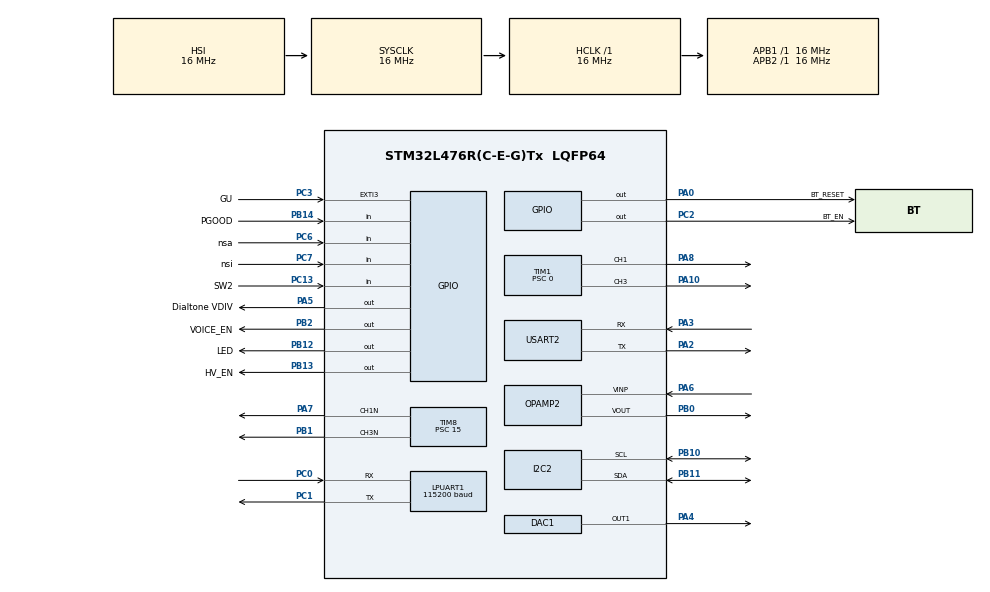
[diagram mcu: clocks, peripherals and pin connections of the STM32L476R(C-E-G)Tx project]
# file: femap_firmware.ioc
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DAC1.DAC_Trigger-DAC_OUT1=DAC_TRIGGER_T4_TRGO
Dma.DAC_CH1.2.Direction=DMA_MEMORY_TO_PERIPH
Dma.DAC_CH1.2.Instance=DMA1_Channel3
Dma.DAC_CH1.2.MemDataAlignment=DMA_MDATAALIGN_HALFWORD
Dma.DAC_CH1.2.MemInc=DMA_MINC_ENABLE
Dma.DAC_CH1.2.Mode=DMA_CIRCULAR
Dma.DAC_CH1.2.PeriphDataAlignment=DMA_PDATAALIGN_HALFWORD
Dma.DAC_CH1.2.PeriphInc=DMA_PINC_DISABLE
Dma.DAC_CH1.2.Priority=DMA_PRIORITY_HIGH
Dma.Request0=TIM1_CH1
Dma.Request1=TIM1_CH3
Dma.Request2=DAC_CH1
Dma.TIM1_CH1.0.Direction=DMA_MEMORY_TO_PERIPH
Dma.TIM1_CH1.0.Instance=DMA1_Channel2
Dma.TIM1_CH1.0.MemDataAlignment=DMA_MDATAALIGN_HALFWORD
Dma.TIM1_CH1.0.MemInc=DMA_MINC_ENABLE
Dma.TIM1_CH1.0.Mode=DMA_CIRCULAR
Dma.TIM1_CH1.0.PeriphDataAlignment=DMA_PDATAALIGN_HALFWORD
Dma.TIM1_CH1.0.PeriphInc=DMA_PINC_DISABLE
Dma.TIM1_CH1.0.Priority=DMA_PRIORITY_HIGH
Dma.TIM1_CH3.1.Direction=DMA_MEMORY_TO_PERIPH
Dma.TIM1_CH3.1.Instance=DMA1_Channel7
Dma.TIM1_CH3.1.MemDataAlignment=DMA_MDATAALIGN_HALFWORD
Dma.TIM1_CH3.1.MemInc=DMA_MINC_ENABLE
Dma.TIM1_CH3.1.Mode=DMA_CIRCULAR
Dma.TIM1_CH3.1.PeriphDataAlignment=DMA_PDATAALIGN_HALFWORD
Dma.TIM1_CH3.1.PeriphInc=DMA_PINC_DISABLE
Dma.TIM1_CH3.1.Priority=DMA_PRIORITY_HIGH
I2C2.Timing=0x00503D58
LPUART1.BaudRate=115200
LPUART1.WordLength=UART_WORDLENGTH_8B
Mcu.Family=STM32L4
Mcu.Name=STM32L476R(C-E-G)Tx
Mcu.Package=LQFP64
NVIC.DMA1_Channel2_IRQn=true\:0\:0\:false\:false\:true\:false\:true\:true
NVIC.DMA1_Channel3_IRQn=true\:0\:0\:false\:false\:true\:false\:true\:true
NVIC.DMA1_Channel7_IRQn=true\:0\:0\:false\:false\:true\:false\:true\:true
NVIC.EXTI3_IRQn=true\:0\:0\:false\:false\:true\:true\:true\:true
NVIC.LPUART1_IRQn=true\:0\:0\:false\:false\:true\:true\:true\:true
NVIC.PriorityGroup=NVIC_PRIORITYGROUP_4
NVIC.USART2_IRQn=true\:0\:0\:false\:false\:true\:true\:true\:true
PA0.GPIO_Label=BT_RESET
PA0.Signal=GPIO_Output
PA10.Signal=S_TIM1_CH3
PA2.Mode=Asynchronous
PA2.Signal=USART2_TX
PA3.Mode=Asynchronous
PA3.Signal=USART2_RX
PA4.Signal=COMP_DAC11_group
PA5.GPIO_Label=Dialtone VDIV 
PA5.Signal=GPIO_Output
PA6.Mode=Follower
PA6.Signal=OPAMP2_VINP
PA7.Mode=PWM Generation1 CH1N
PA7.Signal=TIM8_CH1N
PA8.Signal=S_TIM1_CH1
PB0.Mode=Follower
PB0.Signal=OPAMP2_VOUT
PB1.Mode=PWM Generation3 CH3N
PB1.Signal=TIM8_CH3N
PB10.Mode=I2C
PB10.Signal=I2C2_SCL
PB11.Mode=I2C
PB11.Signal=I2C2_SDA
PB12.GPIO_Label=LED
PB12.Signal=GPIO_Output
PB13.GPIO_Label=HV_EN
PB13.Signal=GPIO_Output
PB14.GPIO_Label=PGOOD
PB14.Signal=GPIO_Input
PB2.GPIO_Label=VOICE_EN
PB2.Signal=GPIO_Output
PC0.Mode=Asynchronous
PC0.Signal=LPUART1_RX
PC1.Mode=Asynchronous
PC1.Signal=LPUART1_TX
PC13.GPIO_Label=SW2
PC13.Signal=GPIO_Input
PC14-OSC32_IN\ (PC14).Mode=LSE-External-Oscillator
PC14-OSC32_IN\ (PC14).Signal=RCC_OSC32_IN
PC15-OSC32_OUT\ (PC15).Mode=LSE-External-Oscillator
PC15-OSC32_OUT\ (PC15).Signal=RCC_OSC32_OUT
PC2.GPIO_Label=BT_EN
PC2.Signal=GPIO_Output
PC3.GPIO_Label=GU
PC3.GPIO_PuPd=GPIO_PULLDOWN
PC3.Signal=GPXTI3
PC6.GPIO_Label=nsa
PC6.GPIO_PuPd=GPIO_PULLDOWN
PC6.Signal=GPIO_Input
PC7.GPIO_Label=nsi
PC7.GPIO_PuPd=GPIO_PULLDOWN
PC7.Signal=GPIO_Input
ProjectManager.HeapSize=0x200
ProjectManager.StackSize=0x400
ProjectManager.TargetToolchain=CMake
RCC.ADCFreq_Value=64000000
RCC.AHBFreq_Value=16000000
RCC.APB1Freq_Value=16000000
RCC.APB1TimFreq_Value=16000000
RCC.APB2Freq_Value=16000000
RCC.APB2TimFreq_Value=16000000
RCC.CortexFreq_Value=16000000
RCC.HCLKFreq_Value=16000000
RCC.HSE_VALUE=8000000
RCC.HSI_VALUE=16000000
RCC.LPUART1CLockSelection=RCC_LPUART1CLKSOURCE_HSI
RCC.MSIClockRange=RCC_MSIRANGE_8
RCC.MSI_VALUE=16000000
RCC.PLLSourceVirtual=RCC_PLLSOURCE_HSI
RCC.SYSCLKFreq_VALUE=16000000
RCC.SYSCLKSource=RCC_SYSCLKSOURCE_HSI
RCC.USBFreq_Value=64000000
RCC.VCOOutputFreq_Value=128000000
SH.COMP_DAC11_group.0=DAC1_OUT1,DAC_OUT1
SH.S_TIM1_CH1.0=TIM1_CH1,PWM Generation1 CH1
SH.S_TIM1_CH3.0=TIM1_CH3,PWM Generation3 CH3
TIM1.AutoReloadPreload=TIM_AUTORELOAD_PRELOAD_ENABLE
TIM1.Channel-PWM\ Generation1\ CH1=TIM_CHANNEL_1
TIM1.Channel-PWM\ Generation3\ CH3=TIM_CHANNEL_3
TIM1.Period=319
TIM1.Prescaler=0
TIM1.Pulse-PWM\ Generation1\ CH1=0
TIM1.Pulse-PWM\ Generation3\ CH3=0
TIM1.TIM_MasterOutputTrigger=TIM_TRGO_ENABLE
TIM1.TIM_MasterSlaveMode=TIM_MASTERSLAVEMODE_DISABLE
TIM15.Channel-PWM\ Generation1\ No\ Output=TIM_CHANNEL_1
TIM15.Prescaler=15999
TIM2.Channel-PWM\ Generation1\ No\ Output=TIM_CHANNEL_1
TIM2.Period=6000
TIM2.Prescaler=15999
TIM2.Pulse-PWM\ Generation1\ No\ Output=1000
TIM2.TIM_MasterOutputTrigger=TIM_TRGO_OC1REF
TIM3.Channel-PWM\ Generation1\ No\ Output=TIM_CHANNEL_1
TIM3.Period=480
TIM3.Prescaler=15999
TIM3.Pulse-PWM\ Generation1\ No\ Output=239
TIM3.TIM_MasterOutputTrigger=TIM_TRGO_OC1REF
TIM4.Channel-PWM\ Generation1\ No\ Output=TIM_CHANNEL_1
TIM4.Period=39
TIM4.TIM_MasterOutputTrigger=TIM_TRGO_UPDATE
TIM8.AutoReloadPreload=TIM_AUTORELOAD_PRELOAD_ENABLE
TIM8.Channel-PWM\ Generation1\ CH1N=TIM_CHANNEL_1
TIM8.Channel-PWM\ Generation2\ No\ Output=TIM_CHANNEL_2
TIM8.Channel-PWM\ Generation3\ CH3N=TIM_CHANNEL_3
TIM8.Channel-PWM\ Generation4\ No\ Output=TIM_CHANNEL_4
TIM8.OCMode_PWM-PWM\ Generation1\ CH1N=TIM_OCMODE_COMBINED_PWM2
TIM8.OCMode_PWM-PWM\ Generation3\ CH3N=TIM_OCMODE_COMBINED_PWM2
TIM8.OCNPolarity_1=TIM_OCNPOLARITY_LOW
TIM8.OCNPolarity_3=TIM_OCNPOLARITY_LOW
TIM8.OCPolarity_2=TIM_OCPOLARITY_HIGH
TIM8.Period=39999
TIM8.Prescaler=15
TIM8.Pulse-PWM\ Generation1\ CH1N=20010
TIM8.Pulse-PWM\ Generation2\ No\ Output=39990
TIM8.Pulse-PWM\ Generation3\ CH3N=10
TIM8.Pulse-PWM\ Generation4\ No\ Output=19990
USART2.VirtualMode-Asynchronous=VM_ASYNC
VP_TIM15_VS_no_output1.Mode=PWM Generation1 No Output
VP_TIM1_VS_ClockSourceINT.Mode=Internal
VP_TIM1_VS_ClockSourceITR.Mode=TriggerSource_ITR1
VP_TIM1_VS_ControllerModeGated.Mode=Gated Mode
VP_TIM2_VS_ClockSourceINT.Mode=Internal
VP_TIM2_VS_no_output1.Mode=PWM Generation1 No Output
VP_TIM3_VS_ClockSourceINT.Mode=Internal
VP_TIM3_VS_no_output1.Mode=PWM Generation1 No Output
VP_TIM4_VS_ClockSourceITR.Mode=TriggerSource_ITR2
VP_TIM4_VS_ControllerModeGated.Mode=Gated Mode
VP_TIM4_VS_no_output1.Mode=PWM Generation1 No Output
VP_TIM8_VS_ClockSourceINT.Mode=Internal
VP_TIM8_VS_ClockSourceITR.Mode=TriggerSource_ITR1
VP_TIM8_VS_ControllerModeGated.Mode=Gated Mode
VP_TIM8_VS_no_output2.Mode=PWM Generation2 No Output
VP_TIM8_VS_no_output4.Mode=PWM Generation4 No Output
board=custom

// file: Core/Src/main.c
/* USER CODE BEGIN Header */
/**
  ******************************************************************************
  * @file           : main.c
  * @brief          : Main program body
  ******************************************************************************
  * @attention
  *
  * Copyright (c) 2025 STMicroelectronics.
  * All rights reserved.
  *
  * This software is licensed under terms that can be found in the LICENSE file
  * in the root directory of this software component.
  * If no LICENSE file comes with this software, it is provided AS-IS.
  *
  ******************************************************************************
  */
/* USER CODE END Header */
#include "main.h"

/* USER CODE BEGIN Includes */
#include <string.h>
#include <stdio.h>

#include "stm32l4xx_ll_tim.h"
#include "stm32l4xx_hal_tim.h"

#include "ringer.h"
#include "tone.h"
#include "easteregg.h"
#include "rotary.h"
#include "uart_debug.h"
#include "bt_hfp.h"
#include "phone_fsm.h"
/* USER CODE END Includes */

DAC_HandleTypeDef hdac1;
DMA_HandleTypeDef hdma_dac_ch1;

I2C_HandleTypeDef hi2c2;

UART_HandleTypeDef hlpuart1;
UART_HandleTypeDef huart2;

OPAMP_HandleTypeDef hopamp2;

TIM_HandleTypeDef htim1;
TIM_HandleTypeDef htim2;
TIM_HandleTypeDef htim3;
TIM_HandleTypeDef htim4;
TIM_HandleTypeDef htim8;
TIM_HandleTypeDef htim15;
DMA_HandleTypeDef hdma_tim1_ch1;
DMA_HandleTypeDef hdma_tim1_ch3;

/* USER CODE BEGIN PV */

#define MP2722_REGISTERS 23
uint8_t i2c_buffer[MP2722_REGISTERS];

/* USER CODE END PV */

void SystemClock_Config(void);
static void MX_GPIO_Init(void);
static void MX_DMA_Init(void);
static void MX_TIM1_Init(void);
static void MX_USART2_UART_Init(void);
static void MX_TIM8_Init(void);
static void MX_TIM2_Init(void);
static void MX_LPUART1_UART_Init(void);
static void MX_DAC1_Init(void);
static void MX_OPAMP2_Init(void);
static void MX_TIM4_Init(void);
static void MX_TIM15_Init(void);
static void MX_TIM3_Init(void);
static void MX_I2C2_Init(void);

int main(void)
{

  /* MCU Configuration--------------------------------------------------------*/

  /* Reset of all peripherals, Initializes the Flash interface and the Systick. */
  HAL_Init();

  /* Configure the system clock */
  SystemClock_Config();

  /* USER CODE BEGIN SysInit */
  HAL_Delay(500);
  /* USER CODE END SysInit */

  /* Initialize all configured peripherals */
  MX_GPIO_Init();
  MX_DMA_Init();
  MX_TIM1_Init();
  MX_USART2_UART_Init();
  MX_TIM8_Init();
  MX_TIM2_Init();
  MX_LPUART1_UART_Init();
  MX_DAC1_Init();
  MX_OPAMP2_Init();
  MX_TIM4_Init();
  MX_TIM15_Init();
  MX_TIM3_Init();
  MX_I2C2_Init();
  /* USER CODE BEGIN 2 */
  uart_debug_init(&huart2, &hlpuart1);

  // TODO: print version number instead of 'hello world'
  puts("Hallo Welt");

  /*
   * TIM1: PWM samples for NMOS (lower part of H bridge)
   * TIM8: on/off for PMOS (upper part of H bridge)
   * TIM2: defines duty cycle
   */
  init_bell(&htim2, &htim8, &htim1);
  /*
   * TIM3: defines duty cycle (regular dialtone vs. busy tone)
   * TIM4: for DAC samples
   */
  init_dialtone(&htim3, &htim4, &hdac1, &hopamp2);
  init_easteregg(&htim4, &hdac1, &hopamp2);
  /* TIM15: pulse timing for rotary dial */
  init_rotary(&htim15);

  HAL_GPIO_WritePin(VOICE_EN_GPIO_Port, VOICE_EN_Pin, GPIO_PIN_RESET);
  bt_hfp_init(&hlpuart1, &huart2);
  phone_fsm_init(&hlpuart1);

  HAL_I2C_Master_Transmit(&hi2c2, 0x03f<<1, (uint8_t*)"\x00", 1, 1000);
  HAL_I2C_Master_Receive(&hi2c2, 0x3f<<1, i2c_buffer, MP2722_REGISTERS, 1000);
  iprintf("i2c=");
  for(size_t i=0; i<MP2722_REGISTERS; ++i)
  {
    iprintf("%02x", i2c_buffer[i]);
  }
  iprintf("\n");
  /* USER CODE END 2 */

  /* Infinite loop */
  /* USER CODE BEGIN WHILE */
  while(1)
  {
    phone_fsm_process();
  }
    /* USER CODE END WHILE */

}

void SystemClock_Config(void)
{
  RCC_OscInitTypeDef RCC_OscInitStruct = {0};
  RCC_ClkInitTypeDef RCC_ClkInitStruct = {0};

  /** Configure the main internal regulator output voltage
  */
  if (HAL_PWREx_ControlVoltageScaling(PWR_REGULATOR_VOLTAGE_SCALE1) != HAL_OK)
  {
    Error_Handler();
  }

  /** Initializes the RCC Oscillators according to the specified parameters
  * in the RCC_OscInitTypeDef structure.
  */
  RCC_OscInitStruct.OscillatorType = RCC_OSCILLATORTYPE_HSI;
  RCC_OscInitStruct.HSIState = RCC_HSI_ON;
  RCC_OscInitStruct.HSICalibrationValue = RCC_HSICALIBRATION_DEFAULT;
  RCC_OscInitStruct.PLL.PLLState = RCC_PLL_NONE;
  if (HAL_RCC_OscConfig(&RCC_OscInitStruct) != HAL_OK)
  {
    Error_Handler();
  }

  /** Initializes the CPU, AHB and APB buses clocks
  */
  RCC_ClkInitStruct.ClockType = RCC_CLOCKTYPE_HCLK|RCC_CLOCKTYPE_SYSCLK
                              |RCC_CLOCKTYPE_PCLK1|RCC_CLOCKTYPE_PCLK2;
  RCC_ClkInitStruct.SYSCLKSource = RCC_SYSCLKSOURCE_HSI;
  RCC_ClkInitStruct.AHBCLKDivider = RCC_SYSCLK_DIV1;
  RCC_ClkInitStruct.APB1CLKDivider = RCC_HCLK_DIV1;
  RCC_ClkInitStruct.APB2CLKDivider = RCC_HCLK_DIV1;

  if (HAL_RCC_ClockConfig(&RCC_ClkInitStruct, FLASH_LATENCY_0) != HAL_OK)
  {
    Error_Handler();
  }
}

static void MX_DAC1_Init(void)
{

  DAC_ChannelConfTypeDef sConfig = {0};

  /** DAC Initialization
  */
  hdac1.Instance = DAC1;
  if (HAL_DAC_Init(&hdac1) != HAL_OK)
  {
    Error_Handler();
  }

  /** DAC channel OUT1 config
  */
  sConfig.DAC_SampleAndHold = DAC_SAMPLEANDHOLD_DISABLE;
  sConfig.DAC_Trigger = DAC_TRIGGER_T4_TRGO;
  sConfig.DAC_OutputBuffer = DAC_OUTPUTBUFFER_ENABLE;
  sConfig.DAC_ConnectOnChipPeripheral = DAC_CHIPCONNECT_DISABLE;
  sConfig.DAC_UserTrimming = DAC_TRIMMING_FACTORY;
  if (HAL_DAC_ConfigChannel(&hdac1, &sConfig, DAC_CHANNEL_1) != HAL_OK)
  {
    Error_Handler();
  }

}

static void MX_I2C2_Init(void)
{

  hi2c2.Instance = I2C2;
  hi2c2.Init.Timing = 0x00503D58;
  hi2c2.Init.OwnAddress1 = 0;
  hi2c2.Init.AddressingMode = I2C_ADDRESSINGMODE_7BIT;
  hi2c2.Init.DualAddressMode = I2C_DUALADDRESS_DISABLE;
  hi2c2.Init.OwnAddress2 = 0;
  hi2c2.Init.OwnAddress2Masks = I2C_OA2_NOMASK;
  hi2c2.Init.GeneralCallMode = I2C_GENERALCALL_DISABLE;
  hi2c2.Init.NoStretchMode = I2C_NOSTRETCH_DISABLE;
  if (HAL_I2C_Init(&hi2c2) != HAL_OK)
  {
    Error_Handler();
  }

  /** Configure Analogue filter
  */
  if (HAL_I2CEx_ConfigAnalogFilter(&hi2c2, I2C_ANALOGFILTER_ENABLE) != HAL_OK)
  {
    Error_Handler();
  }

  /** Configure Digital filter
  */
  if (HAL_I2CEx_ConfigDigitalFilter(&hi2c2, 0) != HAL_OK)
  {
    Error_Handler();
  }

}

static void MX_LPUART1_UART_Init(void)
{

  hlpuart1.Instance = LPUART1;
  hlpuart1.Init.BaudRate = 115200;
  hlpuart1.Init.WordLength = UART_WORDLENGTH_8B;
  hlpuart1.Init.StopBits = UART_STOPBITS_1;
  hlpuart1.Init.Parity = UART_PARITY_NONE;
  hlpuart1.Init.Mode = UART_MODE_TX_RX;
  hlpuart1.Init.HwFlowCtl = UART_HWCONTROL_NONE;
  hlpuart1.Init.OneBitSampling = UART_ONE_BIT_SAMPLE_DISABLE;
  hlpuart1.AdvancedInit.AdvFeatureInit = UART_ADVFEATURE_NO_INIT;
  if (HAL_UART_Init(&hlpuart1) != HAL_OK)
  {
    Error_Handler();
  }

}

static void MX_USART2_UART_Init(void)
{

  huart2.Instance = USART2;
  huart2.Init.BaudRate = 115200;
  huart2.Init.WordLength = UART_WORDLENGTH_8B;
  huart2.Init.StopBits = UART_STOPBITS_1;
  huart2.Init.Parity = UART_PARITY_NONE;
  huart2.Init.Mode = UART_MODE_TX_RX;
  huart2.Init.HwFlowCtl = UART_HWCONTROL_NONE;
  huart2.Init.OverSampling = UART_OVERSAMPLING_16;
  huart2.Init.OneBitSampling = UART_ONE_BIT_SAMPLE_DISABLE;
  huart2.AdvancedInit.AdvFeatureInit = UART_ADVFEATURE_NO_INIT;
  if (HAL_UART_Init(&huart2) != HAL_OK)
  {
    Error_Handler();
  }

}

static void MX_OPAMP2_Init(void)
{

  hopamp2.Instance = OPAMP2;
  hopamp2.Init.PowerSupplyRange = OPAMP_POWERSUPPLY_LOW;
  hopamp2.Init.Mode = OPAMP_FOLLOWER_MODE;
  hopamp2.Init.NonInvertingInput = OPAMP_NONINVERTINGINPUT_IO0;
  hopamp2.Init.PowerMode = OPAMP_POWERMODE_NORMALPOWER;
  hopamp2.Init.UserTrimming = OPAMP_TRIMMING_FACTORY;
  if (HAL_OPAMP_Init(&hopamp2) != HAL_OK)
  {
    Error_Handler();
  }

}

static void MX_TIM1_Init(void)
{

  TIM_ClockConfigTypeDef sClockSourceConfig = {0};
  TIM_SlaveConfigTypeDef sSlaveConfig = {0};
  TIM_MasterConfigTypeDef sMasterConfig = {0};
  TIM_OC_InitTypeDef sConfigOC = {0};
  TIM_BreakDeadTimeConfigTypeDef sBreakDeadTimeConfig = {0};

  htim1.Instance = TIM1;
  htim1.Init.Prescaler = 0;
  htim1.Init.CounterMode = TIM_COUNTERMODE_UP;
  htim1.Init.Period = 319;
  htim1.Init.ClockDivision = TIM_CLOCKDIVISION_DIV1;
  htim1.Init.RepetitionCounter = 0;
  htim1.Init.AutoReloadPreload = TIM_AUTORELOAD_PRELOAD_ENABLE;
  if (HAL_TIM_Base_Init(&htim1) != HAL_OK)
  {
    Error_Handler();
  }
  sClockSourceConfig.ClockSource = TIM_CLOCKSOURCE_INTERNAL;
  if (HAL_TIM_ConfigClockSource(&htim1, &sClockSourceConfig) != HAL_OK)
  {
    Error_Handler();
  }
  if (HAL_TIM_PWM_Init(&htim1) != HAL_OK)
  {
    Error_Handler();
  }
  sSlaveConfig.SlaveMode = TIM_SLAVEMODE_GATED;
  sSlaveConfig.InputTrigger = TIM_TS_ITR1;
  if (HAL_TIM_SlaveConfigSynchro(&htim1, &sSlaveConfig) != HAL_OK)
  {
    Error_Handler();
  }
  sMasterConfig.MasterOutputTrigger = TIM_TRGO_ENABLE;
  sMasterConfig.MasterOutputTrigger2 = TIM_TRGO2_RESET;
  sMasterConfig.MasterSlaveMode = TIM_MASTERSLAVEMODE_DISABLE;
  if (HAL_TIMEx_MasterConfigSynchronization(&htim1, &sMasterConfig) != HAL_OK)
  {
    Error_Handler();
  }
  sConfigOC.OCMode = TIM_OCMODE_PWM1;
  sConfigOC.Pulse = 0;
  sConfigOC.OCPolarity = TIM_OCPOLARITY_HIGH;
  sConfigOC.OCNPolarity = TIM_OCNPOLARITY_HIGH;
  sConfigOC.OCFastMode = TIM_OCFAST_DISABLE;
  sConfigOC.OCIdleState = TIM_OCIDLESTATE_RESET;
  sConfigOC.OCNIdleState = TIM_OCNIDLESTATE_RESET;
  if (HAL_TIM_PWM_ConfigChannel(&htim1, &sConfigOC, TIM_CHANNEL_1) != HAL_OK)
  {
    Error_Handler();
  }
  if (HAL_TIM_PWM_ConfigChannel(&htim1, &sConfigOC, TIM_CHANNEL_3) != HAL_OK)
  {
    Error_Handler();
  }
  sBreakDeadTimeConfig.OffStateRunMode = TIM_OSSR_DISABLE;
  sBreakDeadTimeConfig.OffStateIDLEMode = TIM_OSSI_DISABLE;
  sBreakDeadTimeConfig.LockLevel = TIM_LOCKLEVEL_OFF;
  sBreakDeadTimeConfig.DeadTime = 0;
  sBreakDeadTimeConfig.BreakState = TIM_BREAK_DISABLE;
  sBreakDeadTimeConfig.BreakPolarity = TIM_BREAKPOLARITY_HIGH;
  sBreakDeadTimeConfig.BreakFilter = 0;
  sBreakDeadTimeConfig.Break2State = TIM_BREAK2_DISABLE;
  sBreakDeadTimeConfig.Break2Polarity = TIM_BREAK2POLARITY_HIGH;
  sBreakDeadTimeConfig.Break2Filter = 0;
  sBreakDeadTimeConfig.AutomaticOutput = TIM_AUTOMATICOUTPUT_DISABLE;
  if (HAL_TIMEx_ConfigBreakDeadTime(&htim1, &sBreakDeadTimeConfig) != HAL_OK)
  {
    Error_Handler();
  }
  HAL_TIM_MspPostInit(&htim1);

}

static void MX_TIM2_Init(void)
{

  TIM_ClockConfigTypeDef sClockSourceConfig = {0};
  TIM_MasterConfigTypeDef sMasterConfig = {0};
  TIM_OC_InitTypeDef sConfigOC = {0};

  htim2.Instance = TIM2;
  htim2.Init.Prescaler = 15999;
  htim2.Init.CounterMode = TIM_COUNTERMODE_UP;
  htim2.Init.Period = 6000;
  htim2.Init.ClockDivision = TIM_CLOCKDIVISION_DIV1;
  htim2.Init.AutoReloadPreload = TIM_AUTORELOAD_PRELOAD_DISABLE;
  if (HAL_TIM_Base_Init(&htim2) != HAL_OK)
  {
    Error_Handler();
  }
  sClockSourceConfig.ClockSource = TIM_CLOCKSOURCE_INTERNAL;
  if (HAL_TIM_ConfigClockSource(&htim2, &sClockSourceConfig) != HAL_OK)
  {
    Error_Handler();
  }
  if (HAL_TIM_PWM_Init(&htim2) != HAL_OK)
  {
    Error_Handler();
  }
  sMasterConfig.MasterOutputTrigger = TIM_TRGO_OC1REF;
  sMasterConfig.MasterSlaveMode = TIM_MASTERSLAVEMODE_DISABLE;
  if (HAL_TIMEx_MasterConfigSynchronization(&htim2, &sMasterConfig) != HAL_OK)
  {
    Error_Handler();
  }
  sConfigOC.OCMode = TIM_OCMODE_PWM1;
  sConfigOC.Pulse = 1000;
  sConfigOC.OCPolarity = TIM_OCPOLARITY_HIGH;
  sConfigOC.OCFastMode = TIM_OCFAST_DISABLE;
  if (HAL_TIM_PWM_ConfigChannel(&htim2, &sConfigOC, TIM_CHANNEL_1) != HAL_OK)
  {
    Error_Handler();
  }

}

static void MX_TIM3_Init(void)
{

  TIM_ClockConfigTypeDef sClockSourceConfig = {0};
  TIM_MasterConfigTypeDef sMasterConfig = {0};
  TIM_OC_InitTypeDef sConfigOC = {0};

  htim3.Instance = TIM3;
  htim3.Init.Prescaler = 15999;
  htim3.Init.CounterMode = TIM_COUNTERMODE_UP;
  htim3.Init.Period = 480;
  htim3.Init.ClockDivision = TIM_CLOCKDIVISION_DIV1;
  htim3.Init.AutoReloadPreload = TIM_AUTORELOAD_PRELOAD_DISABLE;
  if (HAL_TIM_Base_Init(&htim3) != HAL_OK)
  {
    Error_Handler();
  }
  sClockSourceConfig.ClockSource = TIM_CLOCKSOURCE_INTERNAL;
  if (HAL_TIM_ConfigClockSource(&htim3, &sClockSourceConfig) != HAL_OK)
  {
    Error_Handler();
  }
  if (HAL_TIM_PWM_Init(&htim3) != HAL_OK)
  {
    Error_Handler();
  }
  sMasterConfig.MasterOutputTrigger = TIM_TRGO_OC1REF;
  sMasterConfig.MasterSlaveMode = TIM_MASTERSLAVEMODE_DISABLE;
  if (HAL_TIMEx_MasterConfigSynchronization(&htim3, &sMasterConfig) != HAL_OK)
  {
    Error_Handler();
  }
  sConfigOC.OCMode = TIM_OCMODE_PWM1;
  sConfigOC.Pulse = 239;
  sConfigOC.OCPolarity = TIM_OCPOLARITY_HIGH;
  sConfigOC.OCFastMode = TIM_OCFAST_DISABLE;
  if (HAL_TIM_PWM_ConfigChannel(&htim3, &sConfigOC, TIM_CHANNEL_1) != HAL_OK)
  {
    Error_Handler();
  }

}

static void MX_TIM4_Init(void)
{

  TIM_SlaveConfigTypeDef sSlaveConfig = {0};
  TIM_MasterConfigTypeDef sMasterConfig = {0};
  TIM_OC_InitTypeDef sConfigOC = {0};

  htim4.Instance = TIM4;
  htim4.Init.Prescaler = 0;
  htim4.Init.CounterMode = TIM_COUNTERMODE_UP;
  htim4.Init.Period = 39;
  htim4.Init.ClockDivision = TIM_CLOCKDIVISION_DIV1;
  htim4.Init.AutoReloadPreload = TIM_AUTORELOAD_PRELOAD_DISABLE;
  if (HAL_TIM_Base_Init(&htim4) != HAL_OK)
  {
    Error_Handler();
  }
  if (HAL_TIM_PWM_Init(&htim4) != HAL_OK)
  {
    Error_Handler();
  }
  sSlaveConfig.SlaveMode = TIM_SLAVEMODE_GATED;
  sSlaveConfig.InputTrigger = TIM_TS_ITR2;
  if (HAL_TIM_SlaveConfigSynchro(&htim4, &sSlaveConfig) != HAL_OK)
  {
    Error_Handler();
  }
  sMasterConfig.MasterOutputTrigger = TIM_TRGO_UPDATE;
  sMasterConfig.MasterSlaveMode = TIM_MASTERSLAVEMODE_DISABLE;
  if (HAL_TIMEx_MasterConfigSynchronization(&htim4, &sMasterConfig) != HAL_OK)
  {
    Error_Handler();
  }
  sConfigOC.OCMode = TIM_OCMODE_PWM1;
  sConfigOC.Pulse = 0;
  sConfigOC.OCPolarity = TIM_OCPOLARITY_HIGH;
  sConfigOC.OCFastMode = TIM_OCFAST_DISABLE;
  if (HAL_TIM_PWM_ConfigChannel(&htim4, &sConfigOC, TIM_CHANNEL_1) != HAL_OK)
  {
    Error_Handler();
  }

}

static void MX_TIM8_Init(void)
{

  TIM_ClockConfigTypeDef sClockSourceConfig = {0};
  TIM_SlaveConfigTypeDef sSlaveConfig = {0};
  TIM_MasterConfigTypeDef sMasterConfig = {0};
  TIM_OC_InitTypeDef sConfigOC = {0};
  TIM_BreakDeadTimeConfigTypeDef sBreakDeadTimeConfig = {0};

  htim8.Instance = TIM8;
  htim8.Init.Prescaler = 15;
  htim8.Init.CounterMode = TIM_COUNTERMODE_UP;
  htim8.Init.Period = 39999;
  htim8.Init.ClockDivision = TIM_CLOCKDIVISION_DIV1;
  htim8.Init.RepetitionCounter = 0;
  htim8.Init.AutoReloadPreload = TIM_AUTORELOAD_PRELOAD_ENABLE;
  if (HAL_TIM_Base_Init(&htim8) != HAL_OK)
  {
    Error_Handler();
  }
  sClockSourceConfig.ClockSource = TIM_CLOCKSOURCE_INTERNAL;
  if (HAL_TIM_ConfigClockSource(&htim8, &sClockSourceConfig) != HAL_OK)
  {
    Error_Handler();
  }
  if (HAL_TIM_PWM_Init(&htim8) != HAL_OK)
  {
    Error_Handler();
  }
  sSlaveConfig.SlaveMode = TIM_SLAVEMODE_GATED;
  sSlaveConfig.InputTrigger = TIM_TS_ITR1;
  if (HAL_TIM_SlaveConfigSynchro(&htim8, &sSlaveConfig) != HAL_OK)
  {
    Error_Handler();
  }
  sMasterConfig.MasterOutputTrigger = TIM_TRGO_RESET;
  sMasterConfig.MasterOutputTrigger2 = TIM_TRGO2_RESET;
  sMasterConfig.MasterSlaveMode = TIM_MASTERSLAVEMODE_DISABLE;
  if (HAL_TIMEx_MasterConfigSynchronization(&htim8, &sMasterConfig) != HAL_OK)
  {
    Error_Handler();
  }
  sConfigOC.OCMode = TIM_OCMODE_COMBINED_PWM2;
  sConfigOC.Pulse = 20010;
  sConfigOC.OCPolarity = TIM_OCPOLARITY_HIGH;
  sConfigOC.OCNPolarity = TIM_OCNPOLARITY_LOW;
  sConfigOC.OCFastMode = TIM_OCFAST_DISABLE;
  sConfigOC.OCIdleState = TIM_OCIDLESTATE_RESET;
  sConfigOC.OCNIdleState = TIM_OCNIDLESTATE_RESET;
  if (HAL_TIM_PWM_ConfigChannel(&htim8, &sConfigOC, TIM_CHANNEL_1) != HAL_OK)
  {
    Error_Handler();
  }
  sConfigOC.OCMode = TIM_OCMODE_PWM1;
  sConfigOC.Pulse = 39990;
  sConfigOC.OCNPolarity = TIM_OCNPOLARITY_HIGH;
  if (HAL_TIM_PWM_ConfigChannel(&htim8, &sConfigOC, TIM_CHANNEL_2) != HAL_OK)
  {
    Error_Handler();
  }
  sConfigOC.OCMode = TIM_OCMODE_COMBINED_PWM2;
  sConfigOC.Pulse = 10;
  sConfigOC.OCNPolarity = TIM_OCNPOLARITY_LOW;
  if (HAL_TIM_PWM_ConfigChannel(&htim8, &sConfigOC, TIM_CHANNEL_3) != HAL_OK)
  {
    Error_Handler();
  }
  sConfigOC.OCMode = TIM_OCMODE_PWM1;
  sConfigOC.Pulse = 19990;
  if (HAL_TIM_PWM_ConfigChannel(&htim8, &sConfigOC, TIM_CHANNEL_4) != HAL_OK)
  {
    Error_Handler();
  }
  sBreakDeadTimeConfig.OffStateRunMode = TIM_OSSR_DISABLE;
  sBreakDeadTimeConfig.OffStateIDLEMode = TIM_OSSI_DISABLE;
  sBreakDeadTimeConfig.LockLevel = TIM_LOCKLEVEL_OFF;
  sBreakDeadTimeConfig.DeadTime = 0;
  sBreakDeadTimeConfig.BreakState = TIM_BREAK_DISABLE;
  sBreakDeadTimeConfig.BreakPolarity = TIM_BREAKPOLARITY_HIGH;
  sBreakDeadTimeConfig.BreakFilter = 0;
  sBreakDeadTimeConfig.Break2State = TIM_BREAK2_DISABLE;
  sBreakDeadTimeConfig.Break2Polarity = TIM_BREAK2POLARITY_HIGH;
  sBreakDeadTimeConfig.Break2Filter = 0;
  sBreakDeadTimeConfig.AutomaticOutput = TIM_AUTOMATICOUTPUT_DISABLE;
  if (HAL_TIMEx_ConfigBreakDeadTime(&htim8, &sBreakDeadTimeConfig) != HAL_OK)
  {
    Error_Handler();
  }
  HAL_TIM_MspPostInit(&htim8);

}

static void MX_TIM15_Init(void)
{

  TIM_MasterConfigTypeDef sMasterConfig = {0};
  TIM_OC_InitTypeDef sConfigOC = {0};
  TIM_BreakDeadTimeConfigTypeDef sBreakDeadTimeConfig = {0};

  htim15.Instance = TIM15;
  htim15.Init.Prescaler = 15999;
  htim15.Init.CounterMode = TIM_COUNTERMODE_UP;
  htim15.Init.Period = 65535;
  htim15.Init.ClockDivision = TIM_CLOCKDIVISION_DIV1;
  htim15.Init.RepetitionCounter = 0;
  htim15.Init.AutoReloadPreload = TIM_AUTORELOAD_PRELOAD_DISABLE;
  if (HAL_TIM_PWM_Init(&htim15) != HAL_OK)
  {
    Error_Handler();
  }
  sMasterConfig.MasterOutputTrigger = TIM_TRGO_RESET;
  sMasterConfig.MasterSlaveMode = TIM_MASTERSLAVEMODE_DISABLE;
  if (HAL_TIMEx_MasterConfigSynchronization(&htim15, &sMasterConfig) != HAL_OK)
  {
    Error_Handler();
  }
  sConfigOC.OCMode = TIM_OCMODE_PWM1;
  sConfigOC.Pulse = 0;
  sConfigOC.OCPolarity = TIM_OCPOLARITY_HIGH;
  sConfigOC.OCNPolarity = TIM_OCNPOLARITY_HIGH;
  sConfigOC.OCFastMode = TIM_OCFAST_DISABLE;
  sConfigOC.OCIdleState = TIM_OCIDLESTATE_RESET;
  sConfigOC.OCNIdleState = TIM_OCNIDLESTATE_RESET;
  if (HAL_TIM_PWM_ConfigChannel(&htim15, &sConfigOC, TIM_CHANNEL_1) != HAL_OK)
  {
    Error_Handler();
  }
  sBreakDeadTimeConfig.OffStateRunMode = TIM_OSSR_DISABLE;
  sBreakDeadTimeConfig.OffStateIDLEMode = TIM_OSSI_DISABLE;
  sBreakDeadTimeConfig.LockLevel = TIM_LOCKLEVEL_OFF;
  sBreakDeadTimeConfig.DeadTime = 0;
  sBreakDeadTimeConfig.BreakState = TIM_BREAK_DISABLE;
  sBreakDeadTimeConfig.BreakPolarity = TIM_BREAKPOLARITY_HIGH;
  sBreakDeadTimeConfig.AutomaticOutput = TIM_AUTOMATICOUTPUT_DISABLE;
  if (HAL_TIMEx_ConfigBreakDeadTime(&htim15, &sBreakDeadTimeConfig) != HAL_OK)
  {
    Error_Handler();
  }

}

static void MX_DMA_Init(void)
{

  /* DMA controller clock enable */
  __HAL_RCC_DMA1_CLK_ENABLE();

  /* DMA interrupt init */
  /* DMA1_Channel2_IRQn interrupt configuration */
  HAL_NVIC_SetPriority(DMA1_Channel2_IRQn, 0, 0);
  HAL_NVIC_EnableIRQ(DMA1_Channel2_IRQn);
  /* DMA1_Channel3_IRQn interrupt configuration */
  HAL_NVIC_SetPriority(DMA1_Channel3_IRQn, 0, 0);
  HAL_NVIC_EnableIRQ(DMA1_Channel3_IRQn);
  /* DMA1_Channel7_IRQn interrupt configuration */
  HAL_NVIC_SetPriority(DMA1_Channel7_IRQn, 0, 0);
  HAL_NVIC_EnableIRQ(DMA1_Channel7_IRQn);

}

static void MX_GPIO_Init(void)
{
  GPIO_InitTypeDef GPIO_InitStruct = {0};

  /* GPIO Ports Clock Enable */
  __HAL_RCC_GPIOC_CLK_ENABLE();
  __HAL_RCC_GPIOA_CLK_ENABLE();
  __HAL_RCC_GPIOB_CLK_ENABLE();

  /*Configure GPIO pin Output Level */
  HAL_GPIO_WritePin(BT_EN_GPIO_Port, BT_EN_Pin, GPIO_PIN_RESET);

  /*Configure GPIO pin Output Level */
  HAL_GPIO_WritePin(GPIOA, BT_RESET_Pin|Dialtone_VDIV_Pin, GPIO_PIN_RESET);

  /*Configure GPIO pin Output Level */
  HAL_GPIO_WritePin(GPIOB, VOICE_EN_Pin|LED_Pin|HV_EN_Pin, GPIO_PIN_RESET);

  /*Configure GPIO pin : SW2_Pin */
  GPIO_InitStruct.Pin = SW2_Pin;
  GPIO_InitStruct.Mode = GPIO_MODE_INPUT;
  GPIO_InitStruct.Pull = GPIO_NOPULL;
  HAL_GPIO_Init(SW2_GPIO_Port, &GPIO_InitStruct);

  /*Configure GPIO pin : BT_EN_Pin */
  GPIO_InitStruct.Pin = BT_EN_Pin;
  GPIO_InitStruct.Mode = GPIO_MODE_OUTPUT_PP;
  GPIO_InitStruct.Pull = GPIO_NOPULL;
  GPIO_InitStruct.Speed = GPIO_SPEED_FREQ_LOW;
  HAL_GPIO_Init(BT_EN_GPIO_Port, &GPIO_InitStruct);

  /*Configure GPIO pin : GU_Pin */
  GPIO_InitStruct.Pin = GU_Pin;
  GPIO_InitStruct.Mode = GPIO_MODE_IT_RISING;
  GPIO_InitStruct.Pull = GPIO_PULLDOWN;
  HAL_GPIO_Init(GU_GPIO_Port, &GPIO_InitStruct);

  /*Configure GPIO pins : BT_RESET_Pin Dialtone_VDIV_Pin */
  GPIO_InitStruct.Pin = BT_RESET_Pin|Dialtone_VDIV_Pin;
  GPIO_InitStruct.Mode = GPIO_MODE_OUTPUT_PP;
  GPIO_InitStruct.Pull = GPIO_NOPULL;
  GPIO_InitStruct.Speed = GPIO_SPEED_FREQ_LOW;
  HAL_GPIO_Init(GPIOA, &GPIO_InitStruct);

  /*Configure GPIO pins : VOICE_EN_Pin LED_Pin HV_EN_Pin */
  GPIO_InitStruct.Pin = VOICE_EN_Pin|LED_Pin|HV_EN_Pin;
  GPIO_InitStruct.Mode = GPIO_MODE_OUTPUT_PP;
  GPIO_InitStruct.Pull = GPIO_NOPULL;
  GPIO_InitStruct.Speed = GPIO_SPEED_FREQ_LOW;
  HAL_GPIO_Init(GPIOB, &GPIO_InitStruct);

  /*Configure GPIO pin : PGOOD_Pin */
  GPIO_InitStruct.Pin = PGOOD_Pin;
  GPIO_InitStruct.Mode = GPIO_MODE_INPUT;
  GPIO_InitStruct.Pull = GPIO_NOPULL;
  HAL_GPIO_Init(PGOOD_GPIO_Port, &GPIO_InitStruct);

  /*Configure GPIO pins : nsa_Pin nsi_Pin */
  GPIO_InitStruct.Pin = nsa_Pin|nsi_Pin;
  GPIO_InitStruct.Mode = GPIO_MODE_INPUT;
  GPIO_InitStruct.Pull = GPIO_PULLDOWN;
  HAL_GPIO_Init(GPIOC, &GPIO_InitStruct);

  /* EXTI interrupt init*/
  HAL_NVIC_SetPriority(EXTI3_IRQn, 0, 0);
  HAL_NVIC_EnableIRQ(EXTI3_IRQn);

}

void Error_Handler(void)
{
  __disable_irq();
  while (1)
  {
  }
}
#ifdef USE_FULL_ASSERT
/**
  * @brief  Reports the name of the source file and the source line number
  *         where the assert_param error has occurred.
  * @param  file: pointer to the source file name
  * @param  line: assert_param error line source number
  * @retval None
  */
void assert_failed(uint8_t *file, uint32_t line)
{
  /* USER CODE BEGIN 6 */
  /* User can add his own implementation to report the file name and line number,
     example: printf("Wrong parameters value: file %s on line %d\r\n", file, line) */
  /* USER CODE END 6 */
}
#endif /* USE_FULL_ASSERT */
